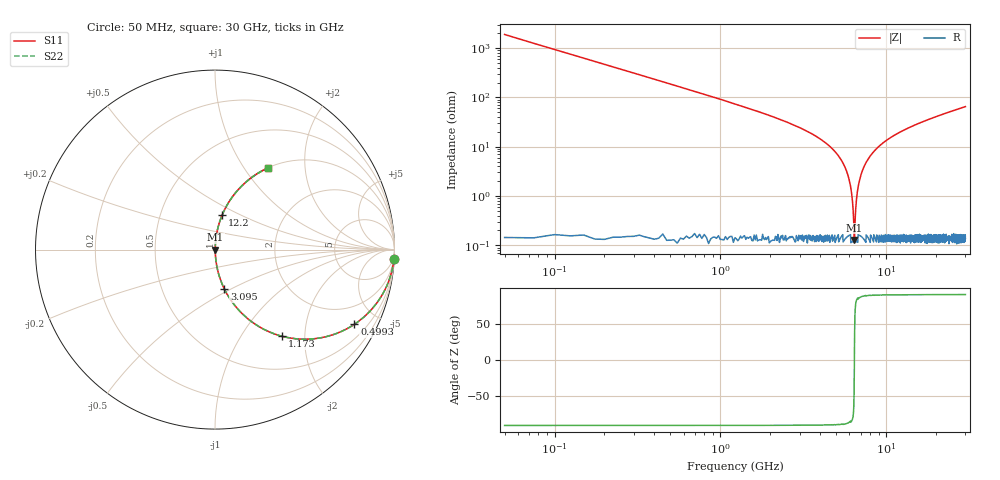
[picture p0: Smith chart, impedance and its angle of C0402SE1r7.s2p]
!	AVX Thin Film Operation 	Date: April 2014
!	Description: Accu-P® Series, Thin Film  SMD RF Capacitor
!	Part Number: 04021J1R7PBSTR
# MHZ S MA R 50
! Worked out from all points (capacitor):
!   1201 points, 50 MHz to 30 GHz, reference 50 ohm
!   read as one part in series: C = 1.7 pF near 199.8 MHz
!   lowest |Z| = 128 mohm at 6.414 GHz (marker M1)
!   series resonance near 6.425 GHz, so ESL is about 360 pH
!   S11 on the Smith chart (normalised r, x): 50 MHz: 1, -37; 499.2 MHz: 1.00, -3.73; 1.173 GHz: 1.00, -1.54; 3.095 GHz: 1.00, -0.46; 12.2 GHz: 1.00, +0.40; 30 GHz: 1.00, +1.30
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50  0.999 -3.1  0.053 86.9  0.053 86.9  0.999 -3.1
274.625  0.959 -16.4  0.282 73.6  0.282 73.6  0.959 -16.4
499.25  0.881 -28.2  0.473 61.8  0.473 61.8  0.881 -28.2
1173.125  0.61 -52.3  0.791 37.6  0.791 37.6  0.61 -52.3
1946.833  0.4 -66.3  0.915 23.6  0.915 23.6  0.4 -66.3
3094.917  0.226 -76.6  0.973 13.1  0.973 13.1  0.226 -76.6
5041.667  0.071 -84.8  0.996 4.1  0.996 4.1  0.071 -84.8
5940.167  0.023 -85.2  0.998 1.3  0.998 1.3  0.023 -85.2
6139.833  0.013 -83.2  0.999 0.8  0.999 0.8  0.013 -83.2
6314.542  0.005215 -74.3  0.999 0.3  0.999 0.3  0.005215 -74.3
6414.375  0.001463 -18.3  0.999 0.0  0.999 0.0  0.001463 -18.3
6514.208  0.004266 70.8  0.999 -0.2  0.999 -0.2  0.004266 70.8
6663.958  0.011 82.0  0.999 -0.6  0.999 -0.6  0.011 82.0
6838.667  0.018 84.6  0.998 -1.0  0.998 -1.0  0.018 84.6
7387.75  0.041 85.7  0.998 -2.3  0.998 -2.3  0.041 85.7
8386.083  0.078 84.5  0.996 -4.5  0.996 -4.5  0.078 84.5
10058.29  0.134 81.7  0.99 -7.7  0.99 -7.7  0.134 81.7
12204.71  0.196 78.3  0.979 -11.3  0.979 -11.3  0.196 78.3
15025  0.268 74.2  0.962 -15.5  0.962 -15.5  0.268 74.2
20016.67  0.377 67.7  0.925 -22.1  0.925 -22.1  0.377 67.7
25033.29  0.468 61.9  0.882 -27.9  0.882 -27.9  0.468 61.9
30000  0.544 56.9  0.838 -33.0  0.838 -33.0  0.544 56.9
